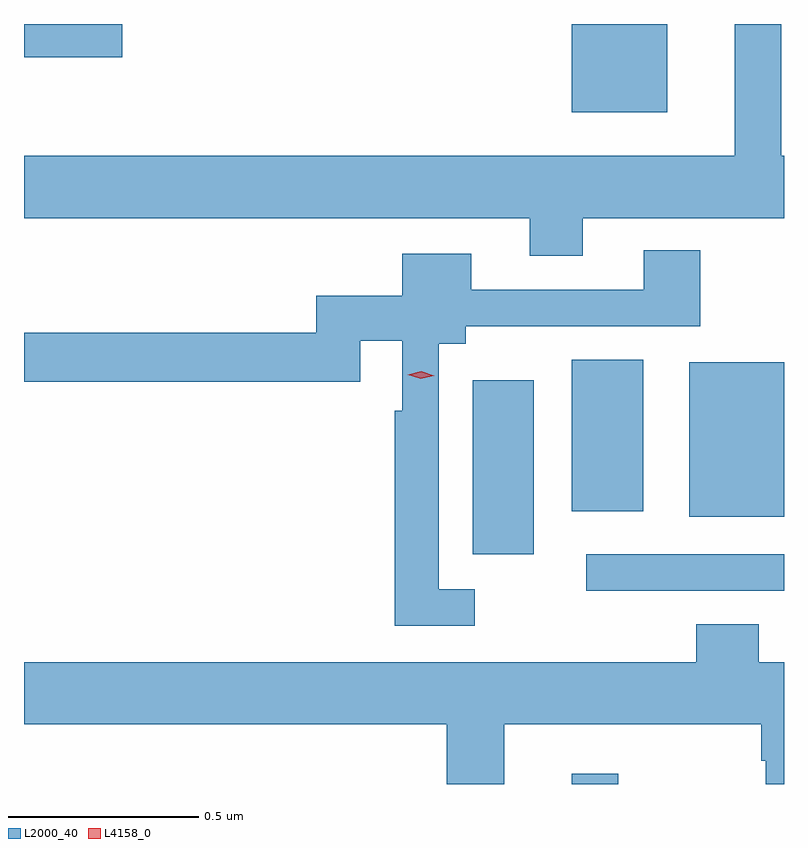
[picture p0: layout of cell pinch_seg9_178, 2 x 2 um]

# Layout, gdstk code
import gdstk
lib = gdstk.Library(unit=1e-6, precision=1e-09)
def R(c, l, rs):  # rectangles x0, y0, x1, y1
    for r in rs: c.add(gdstk.rectangle(r[:2], r[2:], *l))
def P(c, l, *ps):  # polygons
    for p in ps: c.add(gdstk.Polygon(p, *l))
L2000_40 = (2000, 40)
L4158_0 = (4158, 0)

pinch_seg9_178 = lib.new_cell('pinch_seg9_178')
R(pinch_seg9_178, L2000_40, [(844.016,1170.955,844.138,1170.982), (844.053,1171.464,844.574,1171.56), (843.755,1171.559,843.916,1172.017), (844.325,1171.658,844.574,1172.065), (844.016,1171.673,844.204,1172.071), (844.016,1172.723,844.267,1172.955), (842.574,1172.867,842.833,1172.955)])
P(pinch_seg9_178, L2000_40, [(844.045,1172.444),(844.574,1172.444),(844.574,1172.608),(844.567,1172.608),(844.567,1172.955),(844.445,1172.955),(844.445,1172.608),(842.574,1172.608),(842.574,1172.444),(843.905,1172.444),(843.905,1172.345),(844.045,1172.345)],
  [(843.76,1171.468),(843.666,1171.468),(843.666,1172.114),(843.736,1172.114),(843.736,1172.16),(844.353,1172.16),(844.353,1172.359),(844.205,1172.359),(844.205,1172.256),(843.751,1172.256),(843.751,1172.35),(843.569,1172.35),(843.569,1172.24),(843.343,1172.24),(843.343,1172.143),(842.574,1172.143),(842.574,1172.014),(843.459,1172.014),(843.459,1172.122),(843.57,1172.122),(843.57,1171.937),(843.55,1171.937),(843.55,1171.371),(843.76,1171.371)],
  [(843.838,1171.112),(844.514,1171.112),(844.514,1171.016),(844.526,1171.016),(844.526,1170.955),(844.574,1170.955),(844.574,1171.276),(844.508,1171.276),(844.508,1171.375),(844.343,1171.375),(844.343,1171.276),(842.574,1171.276),(842.574,1171.112),(843.686,1171.112),(843.686,1170.955),(843.838,1170.955)])
P(pinch_seg9_178, L4158_0, [(843.618,1172.021),(843.584,1172.032),(843.583,1172.032),(843.584,1172.032),(843.619,1172.041),(843.654,1172.03),(843.654,1172.03),(843.654,1172.03)])

lib.write_gds('pinch_seg9_178.gds')
